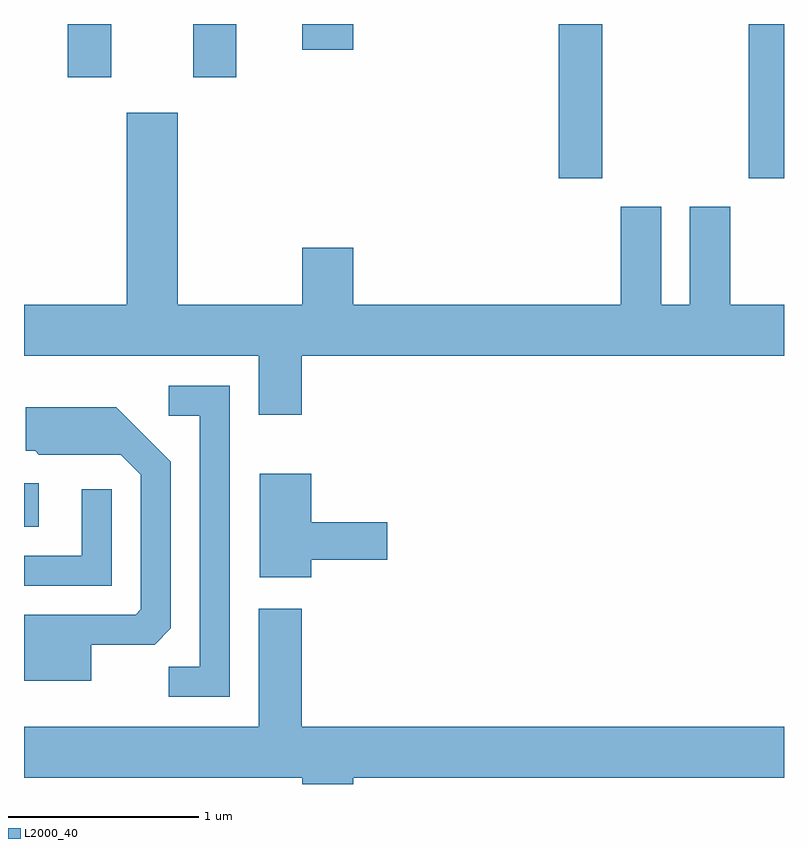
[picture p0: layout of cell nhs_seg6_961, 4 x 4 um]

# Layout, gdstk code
import gdstk
lib = gdstk.Library(unit=1e-6, precision=1e-09)
def R(c, l, rs):  # rectangles x0, y0, x1, y1
    for r in rs: c.add(gdstk.rectangle(r[:2], r[2:], *l))
def P(c, l, *ps):  # polygons
    for p in ps: c.add(gdstk.Polygon(p, *l))
L2000_40 = (2000, 40)

nhs_seg6_961 = lib.new_cell('nhs_seg6_961')
R(nhs_seg6_961, L2000_40, [(213.611,1613.516,213.689,1613.744), (216.426,1615.351,216.654,1616.162), (217.426,1615.351,217.611,1616.162), (213.841,1615.881,214.069,1616.162), (214.501,1615.881,214.729,1616.162), (215.076,1616.026,215.344,1616.162)])
P(nhs_seg6_961, L2000_40, [(215.074,1614.416),(217.611,1614.416),(217.611,1614.684),(217.329,1614.684),(217.329,1615.199),(217.116,1615.199),(217.116,1614.684),(216.964,1614.684),(216.964,1615.199),(216.751,1615.199),(216.751,1614.684),(215.344,1614.684),(215.344,1614.984),(215.076,1614.984),(215.076,1614.684),(214.419,1614.684),(214.419,1615.694),(214.151,1615.694),(214.151,1614.684),(213.611,1614.684),(213.611,1614.416),(214.846,1614.416),(214.846,1614.106),(215.074,1614.106)],
  [(214.694,1614.259),(214.373,1614.259),(214.373,1614.101),(214.536,1614.101),(214.536,1612.779),(214.373,1612.779),(214.373,1612.621),(214.694,1612.621)],
  [(213.964,1612.896),(214.299,1612.896),(214.384,1612.982),(214.384,1613.857),(214.097,1614.144),(213.621,1614.144),(213.621,1613.916),(213.669,1613.916),(213.689,1613.896),(214.119,1613.896),(214.226,1613.789),(214.226,1613.082),(214.199,1613.054),(213.611,1613.054),(213.611,1612.706),(213.964,1612.706)],
  [(215.124,1613.341),(215.524,1613.341),(215.524,1613.539),(215.124,1613.539),(215.124,1613.794),(214.851,1613.794),(214.851,1613.251),(215.124,1613.251)],
  [(214.074,1613.713),(213.916,1613.713),(213.916,1613.364),(213.611,1613.364),(213.611,1613.206),(214.074,1613.206)],
  [(215.344,1612.196),(217.611,1612.196),(217.611,1612.464),(215.074,1612.464),(215.074,1613.084),(214.846,1613.084),(214.846,1612.464),(213.611,1612.464),(213.611,1612.196),(215.076,1612.196),(215.076,1612.162),(215.344,1612.162)])

lib.write_gds('nhs_seg6_961.gds')
